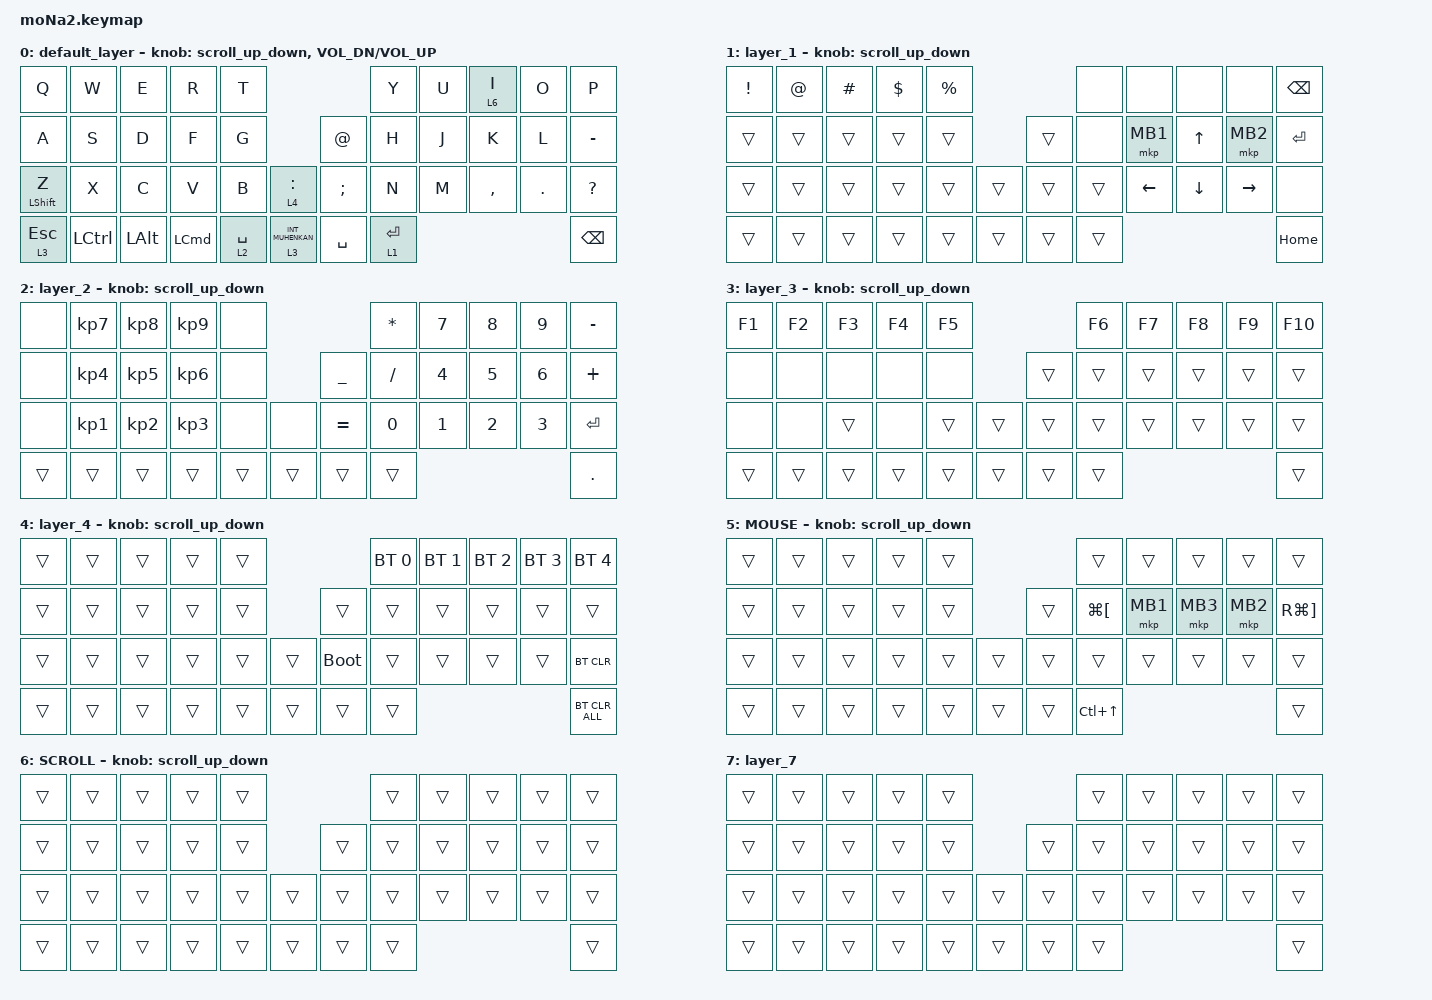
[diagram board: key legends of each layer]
#include <behaviors.dtsi>
#include <dt-bindings/zmk/bt.h>
#include <dt-bindings/zmk/keys.h>
#include <dt-bindings/zmk/pointing.h>

#define ZMK_POINTING_DEFAULT_SCRL_VAL 100
#define MOUSE 5
#define SCROLL 6

&mt {
    flavor = "balanced";
    quick-tap-ms = <0>;
};

/ {
    combos { compatible = "zmk,combos"; };

    macros {
        to_layer_0: to_layer_0 {
            compatible = "zmk,behavior-macro-one-param";
            #binding-cells = <1>;
            bindings = <&to 0 &macro_param_1to1 &kp MACRO_PLACEHOLDER>;
            label = "TO_LAYER_0";
        };
    };

    behaviors {
        lt_to_layer_0: lt_to_layer_0 {
            compatible = "zmk,behavior-hold-tap";
            label = "LAYER_TAP_TO_0";
            bindings = <&mo>, <&to_layer_0>;

            #binding-cells = <2>;
            tapping-term-ms = <200>;
        };

        scroll_up_down: behavior_sensor_rotate_mouse_wheel_up_down {
            compatible = "zmk,behavior-sensor-rotate";
            #sensor-binding-cells = <0>;
            bindings = <&msc SCRL_DOWN>, <&msc SCRL_UP>;

            tap-ms = <20>;
        };
    };

    keymap {
        compatible = "zmk,keymap";

        default_layer {
            bindings = <
&kp Q             &kp W      &kp E         &kp R     &kp T                                             &kp Y        &kp U  &lt 6 I    &kp O    &kp P
&kp A             &kp S      &kp D         &kp F     &kp G                              &kp AT         &kp H        &kp J  &kp K      &kp L    &kp MINUS
&mt LEFT_SHIFT Z  &kp X      &kp C         &kp V     &kp B        &lt 4 COLON           &kp SEMICOLON  &kp N        &kp M  &kp COMMA  &kp DOT  &kp QUESTION
&lt 3 ESCAPE      &kp LCTRL  &kp LEFT_ALT  &kp LCMD  &lt 2 SPACE  &lt 3 INT_MUHENKAN    &kp SPACE      &lt 1 ENTER                             &kp BACKSPACE
            >;

            sensor-bindings =
                <&scroll_up_down>,
                <&inc_dec_kp C_VOL_DN C_VOL_UP>;
        };

        layer_1 {
            bindings = <
&kp EXCLAMATION  &kp AT  &kp HASH  &kp DOLLAR  &kp PERCENT                    &none   &none           &none           &none            &kp BACKSPACE
&trans           &trans  &trans    &trans      &trans                 &trans  &none   &mkp MB1        &kp UP_ARROW    &mkp MB2         &kp ENTER
&trans           &trans  &trans    &trans      &trans       &trans    &trans  &trans  &kp LEFT_ARROW  &kp DOWN_ARROW  &kp RIGHT_ARROW  &none
&trans           &trans  &trans    &trans      &trans       &trans    &trans  &trans                                                   &kp HOME
            >;

            sensor-bindings = <&scroll_up_down>;
        };

        layer_2 {
            bindings = <
&none   &kp KP_NUMBER_7  &kp KP_NUMBER_8  &kp KP_NUMBER_9  &none                             &kp STAR  &kp N7        &kp N8  &kp N9  &kp MINUS
&none   &kp KP_NUMBER_4  &kp KP_NUMBER_5  &kp KP_NUMBER_6  &none             &kp UNDERSCORE  &kp FSLH  &kp N4        &kp N5  &kp N6  &kp PLUS
&none   &kp KP_NUMBER_1  &kp KP_NUMBER_2  &kp KP_NUMBER_3  &none   &none     &kp EQUAL       &kp N0    &kp NUMBER_1  &kp N2  &kp N3  &kp ENTER
&trans  &trans           &trans           &trans           &trans  &trans    &trans          &trans                                  &kp DOT
            >;

            sensor-bindings = <&scroll_up_down>;
        };

        layer_3 {
            bindings = <
&kp F1  &kp F2  &kp F3  &kp F4  &kp F5                    &kp F6  &kp F7  &kp F8  &kp F9  &kp F10
&none   &none   &none   &none   &none             &trans  &trans  &trans  &trans  &trans  &trans
&none   &none   &trans  &none   &trans  &trans    &trans  &trans  &trans  &trans  &trans  &trans
&trans  &trans  &trans  &trans  &trans  &trans    &trans  &trans                          &trans
            >;

            sensor-bindings = <&scroll_up_down>;
        };

        layer_4 {
            bindings = <
&trans  &trans  &trans  &trans  &trans                         &bt BT_SEL 0  &bt BT_SEL 1  &bt BT_SEL 2  &bt BT_SEL 3  &bt BT_SEL 4
&trans  &trans  &trans  &trans  &trans            &trans       &trans        &trans        &trans        &trans        &trans
&trans  &trans  &trans  &trans  &trans  &trans    &bootloader  &trans        &trans        &trans        &trans        &bt BT_CLR
&trans  &trans  &trans  &trans  &trans  &trans    &trans       &trans                                                  &bt BT_CLR_ALL
            >;

            sensor-bindings = <&scroll_up_down>;
        };

        MOUSE {
            bindings = <
&trans  &trans  &trans  &trans  &trans                    &trans                &trans    &trans    &trans    &trans
&trans  &trans  &trans  &trans  &trans            &trans  &kp LG(LEFT_BRACKET)  &mkp MB1  &mkp MB3  &mkp MB2  &kp RG(RIGHT_BRACKET)
&trans  &trans  &trans  &trans  &trans  &trans    &trans  &trans                &trans    &trans    &trans    &trans
&trans  &trans  &trans  &trans  &trans  &trans    &trans  &kp LC(UP_ARROW)                                    &trans
            >;

            sensor-bindings = <&scroll_up_down>;
        };

        SCROLL {
            bindings = <
&trans  &trans  &trans  &trans  &trans                    &trans  &trans  &trans  &trans  &trans
&trans  &trans  &trans  &trans  &trans            &trans  &trans  &trans  &trans  &trans  &trans
&trans  &trans  &trans  &trans  &trans  &trans    &trans  &trans  &trans  &trans  &trans  &trans
&trans  &trans  &trans  &trans  &trans  &trans    &trans  &trans                          &trans
            >;

            sensor-bindings = <&scroll_up_down>;
        };

        layer_7 {
            bindings = <
&trans  &trans  &trans  &trans  &trans                    &trans  &trans  &trans  &trans  &trans
&trans  &trans  &trans  &trans  &trans            &trans  &trans  &trans  &trans  &trans  &trans
&trans  &trans  &trans  &trans  &trans  &trans    &trans  &trans  &trans  &trans  &trans  &trans
&trans  &trans  &trans  &trans  &trans  &trans    &trans  &trans                          &trans
            >;
        };
    };
};
